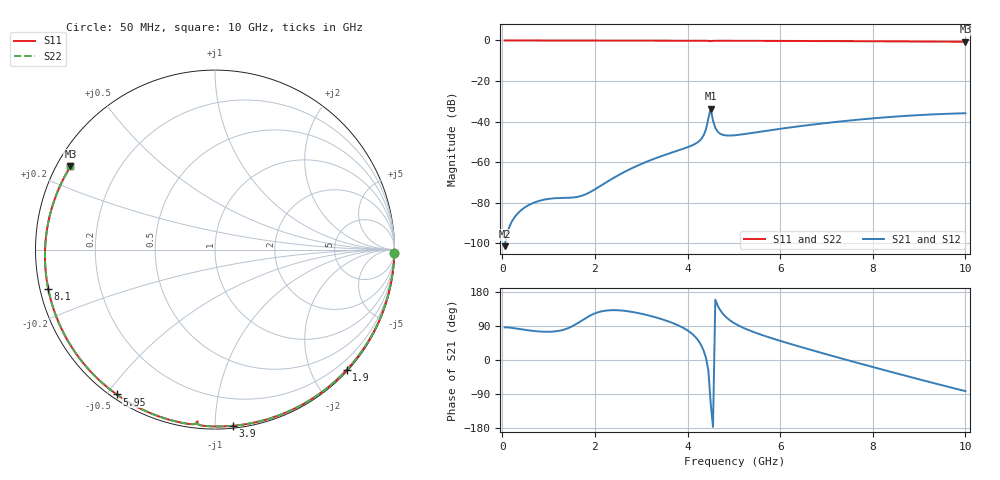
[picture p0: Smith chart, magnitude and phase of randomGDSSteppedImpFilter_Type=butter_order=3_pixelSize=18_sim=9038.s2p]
! freq	dB(S11)	phase(S11)	dB(S12)	phase(S12)
!  dB(S21)	phase(S21)	dB(S22)	phase(S22)
!S-par simulation data
#  GHz  S  DB  R 50
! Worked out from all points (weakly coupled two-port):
!   200 points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, 50 MHz to 10 GHz, reference 50 ohm
!   highest |S21| = -33.62 dB at 4.5 GHz (marker M1); lowest = -101.4 dB at 50 MHz (marker M2)
!   lowest |S11| = -0.6 dB at 10 GHz (marker M3), VSWR 27.26, Z = 1.97 + j13.3 ohm
!   |S11| at or under -10 dB: nowhere
!   |S22| runs from -0.6 to 0.0 dB; largest |S21 - S12| = 0
!   S11 on the Smith chart (normalised r, x): 50 MHz: 1, -99; 1.9 GHz: 0.02, -2.58; 3.9 GHz: 0.01, -1.11; 5.95 GHz: 0.02, -0.53; 8.1 GHz: 0.02, -0.12; 10 GHz: 0.04, +0.27
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0.05  -0.00 -1.2  -101.41 85.9  -101.41 85.9  -0.00 -1.2
0.65  -0.02 -14.7  -80.28 77.0  -80.28 77.0  -0.02 -14.7
1.75  -0.05 -39.1  -76.29 106.8  -76.29 106.8  -0.05 -39.2
1.9  -0.05 -42.4  -74.72 117.4  -74.72 117.4  -0.05 -42.4
2.7  -0.08 -59.5  -64.08 128.8  -64.08 128.8  -0.08 -59.5
3.4  -0.10 -74.1  -57.31 109.4  -57.31 109.4  -0.10 -74.1
3.9  -0.12 -84.3  -53.43 85.4  -53.43 85.4  -0.12 -84.3
4.15  -0.13 -89.3  -51.15 63.2  -51.15 63.2  -0.13 -89.3
4.3  -0.13 -92.4  -48.47 37.6  -48.47 37.6  -0.13 -92.4
4.4  -0.15 -94.6  -43.70 4.9  -43.70 4.9  -0.15 -94.6
4.5  -0.34 -95.8  -33.62 -114.1  -33.62 -114.1  -0.35 -95.8
4.55  -0.19 -96.5  -39.49 -176.5  -39.49 -176.5  -0.19 -96.5
4.6  -0.16 -97.7  -43.08 159.1  -43.08 159.1  -0.16 -97.7
4.65  -0.15 -98.8  -44.93 143.8  -44.93 143.8  -0.15 -98.8
4.8  -0.16 -101.9  -46.71 117.2  -46.71 117.2  -0.16 -101.9
5.05  -0.17 -106.8  -46.67 94.3  -46.67 94.3  -0.17 -106.8
5.95  -0.22 -124.2  -43.72 52.4  -43.72 52.4  -0.22 -124.2
6.7  -0.27 -138.7  -41.48 25.5  -41.48 25.5  -0.27 -138.7
8.1  -0.40 -166.6  -38.21 -21.8  -38.21 -21.8  -0.40 -166.6
8.35  -0.43 -171.8  -37.76 -30.0  -37.76 -30.0  -0.43 -171.8
9.2  -0.53 169.5  -36.55 -57.4  -36.55 -57.4  -0.53 169.4
10  -0.64 150.1  -35.88 -82.1  -35.88 -82.1  -0.64 150.1
